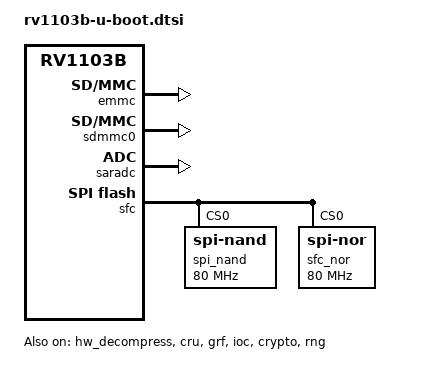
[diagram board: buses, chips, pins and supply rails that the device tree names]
/*
 * (C) Copyright 2024 Rockchip Electronics Co., Ltd
 *
 * SPDX-License-Identifier:     GPL-2.0+
 */

 / {
	aliases {
		mmc1 = &sdmmc0;
		mmc0 = &emmc;
	};

	chosen {
		stdout-path = &uart0;
		u-boot,spl-boot-order = &sdmmc0, &spi_nand, &spi_nor, &emmc;
	};
};

&hw_decompress {
	u-boot,dm-spl;
	status = "okay";
};

&emmc {
	u-boot,dm-spl;
	status = "okay";
};

&cru {
	u-boot,dm-spl;
	status = "okay";
};

&grf {
	u-boot,dm-spl;
	status = "okay";
};

&pinctrl {
	u-boot,dm-spl;
	status = "okay";
};

&sdmmc0 {
	u-boot,dm-spl;
	pwr-en-gpios = <&gpio0 RK_PA4 GPIO_ACTIVE_LOW>;
	pinctrl-names = "default", "idle";
	pinctrl-0 = <&sdmmc0_clk_pins &sdmmc0_cmd_pins &sdmmc0_det_pins &sdmmc0_bus4_pins>;
	status = "okay";
};

&sdmmc0_pins {
	u-boot,dm-spl;
};

&sdmmc0_clk_pins {
	u-boot,dm-spl;
};

&sdmmc0_cmd_pins {
	u-boot,dm-spl;
};

&sdmmc0_det_pins {
	u-boot,dm-spl;
};

&sdmmc0_bus4_pins {
	u-boot,dm-spl;
};

&ioc {
	u-boot,dm-spl;
	status = "okay";
};

&pcfg_pull_up_drv_level_2 {
	u-boot,dm-spl;
};

&pcfg_pull_up {
	u-boot,dm-spl;
};

&gpio0 {
	u-boot,dm-spl;
	status = "okay";
};

&gpio1 {
	u-boot,dm-pre-reloc;
	status = "okay";
};

&gpio2 {
	u-boot,dm-pre-reloc;
	status = "okay";
};


&crypto {
	u-boot,dm-spl;
	status = "okay";
};

&rng {
	u-boot,dm-spl;
	status = "okay";
};

&saradc {
	u-boot,dm-pre-reloc;
	status = "okay";
};

&sfc {
	u-boot,dm-spl;
	status = "okay";

	#address-cells = <1>;
	#size-cells = <0>;
	spi_nand: flash@0 {
		u-boot,dm-spl;
		compatible = "spi-nand";
		reg = <0>;
		spi-tx-bus-width = <1>;
		spi-rx-bus-width = <4>;
		spi-max-frequency = <80000000>;
	};

	spi_nor: flash@1 {
		u-boot,dm-spl;
		compatible = "jedec,spi-nor";
		label = "sfc_nor";
		reg = <0>;
		spi-tx-bus-width = <1>;
		spi-rx-bus-width = <4>;
		spi-max-frequency = <80000000>;
	};
};
